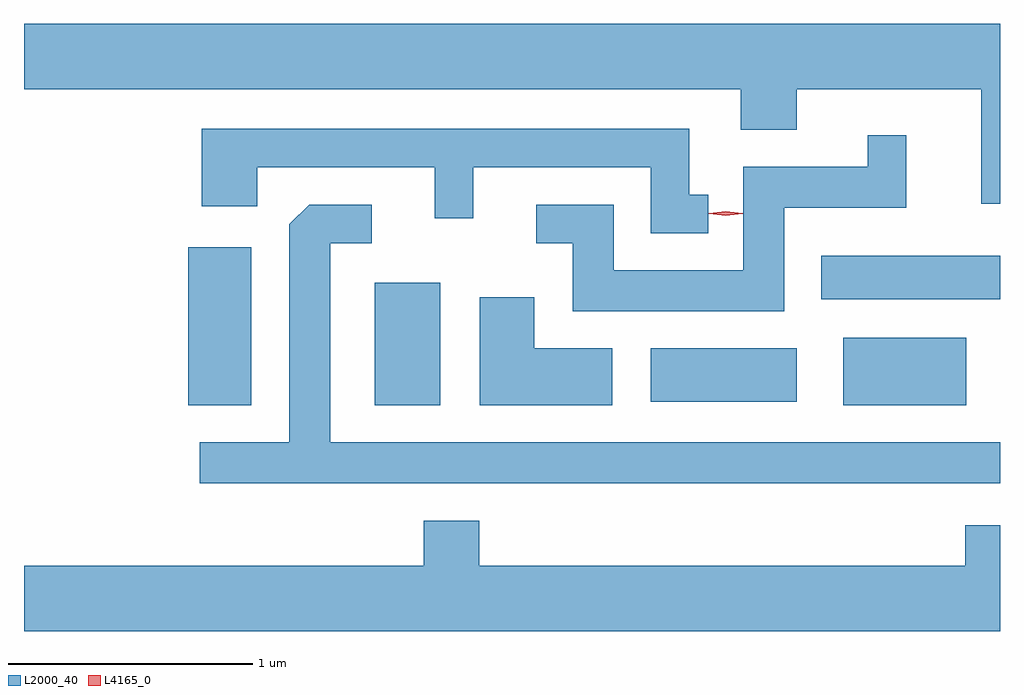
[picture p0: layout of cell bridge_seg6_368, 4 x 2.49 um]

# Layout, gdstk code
import gdstk
lib = gdstk.Library(unit=1e-6, precision=1e-09)
def R(c, l, rs):  # rectangles x0, y0, x1, y1
    for r in rs: c.add(gdstk.rectangle(r[:2], r[2:], *l))
def P(c, l, *ps):  # polygons
    for p in ps: c.add(gdstk.Polygon(p, *l))
L2000_40 = (2000, 40)
L4165_0 = (4165, 0)

bridge_seg6_368 = lib.new_cell('bridge_seg6_368')
R(bridge_seg6_368, L2000_40, [(968.956,1659.741,969.214,1660.389), (969.721,1659.741,969.989,1660.244), (971.641,1659.741,972.144,1660.019), (970.851,1659.756,971.449,1659.974), (971.551,1660.176,972.283,1660.354)])
P(bridge_seg6_368, L2000_40, [(972.283,1661.304),(968.283,1661.304),(968.283,1661.036),(971.221,1661.036),(971.221,1660.871),(971.449,1660.871),(971.449,1661.036),(972.206,1661.036),(972.206,1660.568),(972.283,1660.568)],
  [(971.088,1660.604),(971.009,1660.604),(971.009,1660.874),(969.011,1660.874),(969.011,1660.556),(969.239,1660.556),(969.239,1660.716),(969.966,1660.716),(969.966,1660.508),(970.124,1660.508),(970.124,1660.716),(970.851,1660.716),(970.851,1660.446),(971.088,1660.446)],
  [(971.399,1660.551),(971.899,1660.551),(971.899,1660.848),(971.741,1660.848),(971.741,1660.719),(971.231,1660.719),(971.231,1660.294),(970.699,1660.294),(970.699,1660.564),(970.383,1660.564),(970.383,1660.406),(970.531,1660.406),(970.531,1660.126),(971.399,1660.126)],
  [(972.283,1659.589),(969.539,1659.589),(969.539,1660.406),(969.708,1660.406),(969.708,1660.564),(969.452,1660.564),(969.371,1660.484),(969.371,1659.589),(969.003,1659.589),(969.003,1659.421),(972.283,1659.421)],
  [(970.694,1659.974),(970.374,1659.974),(970.374,1660.184),(970.151,1660.184),(970.151,1659.741),(970.694,1659.741)],
  [(972.283,1659.249),(972.141,1659.249),(972.141,1659.084),(970.149,1659.084),(970.149,1659.269),(969.921,1659.269),(969.921,1659.084),(968.283,1659.084),(968.283,1658.816),(972.283,1658.816)])
P(bridge_seg6_368, L4165_0, [(971.158,1660.517),(971.089,1660.526),(971.089,1660.527),(971.089,1660.528),(971.158,1660.537),(971.228,1660.528),(971.228,1660.527),(971.228,1660.526)])

lib.write_gds('bridge_seg6_368.gds')
